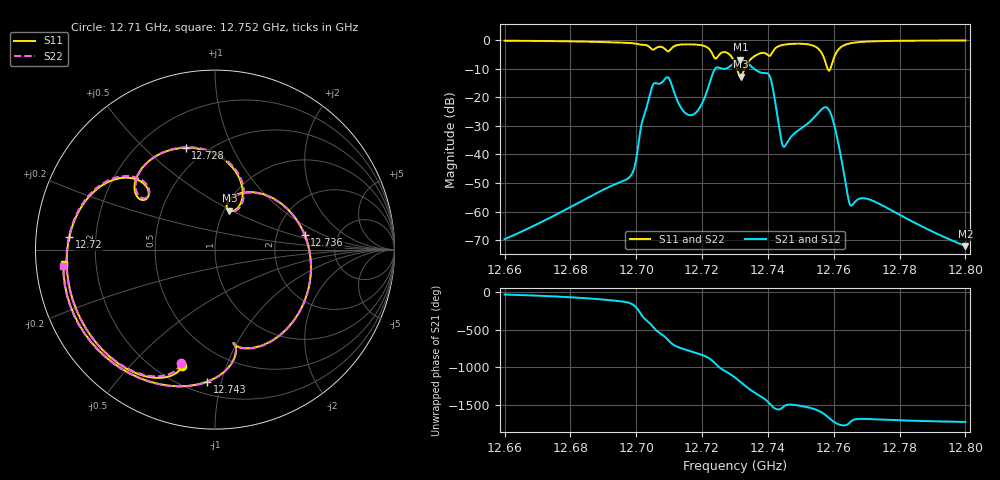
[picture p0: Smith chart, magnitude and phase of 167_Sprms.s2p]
! TOUCHSTONE file generated by CST MICROWAVE STUDIO
! Date and time: Wed Jul 31 19:18:20 2024
! Project name: WaveGuide_BPF-Ver4.1_U-shape_Ku_T3_C4_CWA_2.cst
! Parameters = {cavity_h=16; cavity_l0=10; cavity_l1=15.2331; cavity_l2=16.8307; cavity_l3=17.0651; cavity_l4=17.3097; cavity_l5=17.141; cavity_l6=17.6284; cavity_r=2.5; cavity_screw_l=0.5; cavity_screw_r=1.5; cavity_w=8; iris_h00=0; iris_h01=8.83; iris_h112=0; iris_h12=5.6038; iris_h211=3.6681; iri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
! Header version: 2018
! Port assignment regex: !\s*Touchstone port\s*([0-9]+)\s*=\s*(CST MWS port|CST DS port)\s*([0-9]+|Zmin|Zmax)\s*\(\"(.*)\"\)(\s*mode\s*([0-9]+))?.*
! Touchstone port assignment:
! Touchstone port 1 = CST MWS port 1 ("")
! Touchstone port 2 = CST MWS port 2 ("")
# GHz S RI R 50
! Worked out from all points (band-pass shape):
!   5001 points, 12.66 GHz to 12.8 GHz, reference 50 ohm
!   highest |S21| = -6.80 dB at 12.732 GHz (marker M1); lowest = -72.0 dB at 12.8 GHz (marker M2)
!   |S21| within 3 dB of the highest: 12.72415 GHz to 12.72555 GHz (1.398 MHz wide, 0.011 % of centre); 12.72759 GHz to 12.73554 GHz (7.949 MHz wide, 0.0624 % of centre)
!   lowest |S11| = -12.7 dB at 12.732 GHz (marker M3), VSWR 1.60, Z = 53 + j24.2 ohm
!   |S11| at or under -10 dB: 12.73057 GHz to 12.73292 GHz (2.353 MHz wide, 0.0185 % of centre); 12.75812 GHz to 12.75899 GHz (871.7 kHz wide, 0.00683 % of centre)
!   |S22| runs from -12.8 to -0.1 dB; largest |S21 - S12| = 1e-09
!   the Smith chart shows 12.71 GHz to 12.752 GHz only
!   S11 on the Smith chart (normalised r, x): 12.71 GHz: 0.30, -0.71; 12.72 GHz: 0.10, +0.04; 12.728 GHz: 0.39, +0.68; 12.736 GHz: 2.89, +0.64; 12.743 GHz: 0.28, -0.90; 12.752 GHz: 0.08, -0.05
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12.66  0.4983 0.8376  0.000271 -0.000189  0.000271 -0.000189  0.5011 0.8358
12.68335  0.908 0.2517  0.000269 -0.00151  0.000269 -0.00151  0.9101 0.2423
12.69842  0.6016 -0.6476  -0.00393 -0.00179  -0.00393 -0.00179  0.5887 -0.6594
12.70668  -0.0121 -0.7574  -0.1708 -0.0215  -0.1708 -0.0215  -0.04 -0.757
12.71032  -0.1819 -0.6478  0.1225 0.1505  0.1225 0.1505  -0.1899 -0.6342
12.71964  -0.8111 0.0718  -0.0276 -0.0657  -0.0276 -0.0657  -0.8105 0.0867
12.72348  -0.3841 0.3534  -0.2428 0.1398  -0.2428 0.1398  -0.3798 0.3615
12.72779  -0.1629 0.5672  0.3257 0.0337  0.3257 0.0337  -0.151 0.5704
12.73  0.1484 0.3623  0.2179 -0.3497  0.2179 -0.3497  0.1562 0.3578
12.73165  0.0818 0.2155  -0.2096 -0.4059  -0.2096 -0.4059  0.085 0.2122
12.73168  0.0802 0.2161  -0.217 -0.402  -0.217 -0.402  0.0833 0.2128
12.73557  0.4998 0.0816  -0.1207 0.2989  -0.1207 0.2989  0.5019 0.0757
12.74252  -0.0443 -0.7357  -0.0302 -0.0571  -0.0302 -0.0571  -0.0438 -0.7369
12.74487  -0.4103 -0.7188  0.00192 -0.0135  0.00192 -0.0135  -0.4086 -0.7213
12.75184  -0.8437 -0.0805  -0.00111 -0.0338  -0.00111 -0.0338  -0.8454 -0.0937
12.75335  -0.8045 0.118  -0.0127 -0.0384  -0.0127 -0.0384  -0.8112 0.1017
12.7568  -0.2107 0.4826  -0.0646 -0.00545  -0.0646 -0.00545  -0.2401 0.4787
12.75909  0.3062 -0.1198  -0.0123 0.0504  -0.0123 0.0504  0.2954 -0.106
12.76136  -0.1209 -0.6642  0.0122 0.0103  0.0122 0.0103  -0.1296 -0.66
12.76503  -0.6722 -0.5647  0.000473 0.00122  0.000473 0.00122  -0.6802 -0.5567
12.77668  -0.9628 -0.0495  -0.000141 0.00112  -0.000141 0.00112  -0.9635 -0.0435
12.8  -0.9087 0.3781  8.3e-05 0.000236  8.3e-05 0.000236  -0.9078 0.3806
